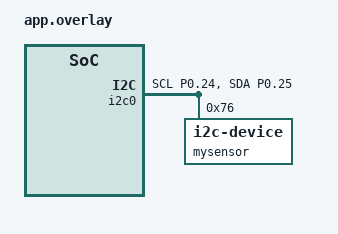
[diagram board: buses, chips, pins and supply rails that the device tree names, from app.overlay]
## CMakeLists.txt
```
cmake_minimum_required(VERSION 3.20.0)
find_package(Zephyr REQUIRED HINTS $ENV{ZEPHYR_BASE})

project(i2c_temp_read)

target_sources(app PRIVATE src/main.c)
```

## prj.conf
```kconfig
CONFIG_SERIAL=y
CONFIG_CONSOLE=y

CONFIG_LOG=y

CONFIG_I2C=y

CONFIG_CBPRINTF_FP_SUPPORT=y
```

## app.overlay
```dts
&i2c0 {
    status = "okay";

    pinctrl-0 = <&i2c0_default>;
    pinctrl-1 = <&i2c0_sleep>;
    pinctrl-names = "default", "sleep";
    mysensor: mysensor@76{
        compatible = "i2c-device";
        status = "okay";
        reg = < 0x76 >;
    };
};

&pinctrl {
	/omit-if-no-ref/ i2c0_default: i2c0_default {
		group1  {
			psels = <NRF_PSEL(TWIM_SCL, 0, 24)>,
					<NRF_PSEL(TWIM_SDA, 0, 25)>;
		};
	};

	/omit-if-no-ref/ i2c0_sleep: i2c0_sleep {
		group1  {
			psels = <NRF_PSEL(TWIM_SCL, 0, 24)>,
					<NRF_PSEL(TWIM_SDA, 0, 25)>;
			low-power-enable;
		};
	};
};
```

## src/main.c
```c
#include <zephyr/kernel.h>
#include <zephyr/drivers/i2c.h>
#include <zephyr/logging/log.h>
#include <stdbool.h>

#define I2C0_NODE DT_NODELABEL(mysensor)

#define BME680_CHIP_ID_REG 0xD0
#define BME680_CHIP_ID     0x61

LOG_MODULE_REGISTER(i2c_temp_read);  

static const struct i2c_dt_spec dev_i2c = I2C_DT_SPEC_GET(I2C0_NODE);

#define CHECK_ERROR_READ(reg_addr, ret) \
        do { \
                if(ret != 0) \
                { \
                        LOG_ERR("Failed to read from I2C device address %x at reg. %x \n\r", \
                                dev_i2c.addr, reg_addr); \
                        return ret; \
                } \
        } while(0)
        
#define CHECK_ERROR_WRITE(reg_addr, ret) \
        do { \
                if(ret != 0) \
                { \
                        LOG_ERR("Failed to write from I2C device address %x to reg. %x \n\r", \
                                dev_i2c.addr, reg_addr); \
                        return ret; \
                } \
        } while(0)

static inline void set_byte(uint32_t* target, uint8_t byte, int8_t offset)
{
        uint32_t temp; 

        if(offset < 0) {
                temp = byte >> -offset; 
        } else {
                temp = byte << offset; 
        }

        *target |= temp; 
}
static int enable_temp_only(uint8_t oversampling)
{
        if (oversampling > 0b111) {
                oversampling = 1; 
        }

        uint8_t config[2] = {0x74, (oversampling << 5 | 1)}; 
        int ret = 0; 

        // 0x74 = ctrl_meas
        // Bits 7:5 = osrs_t (temp oversampling)
        // Bits 4:2 = osrs_p
        // Bits 1:0 = mode

        ret = i2c_write_dt(&dev_i2c, config, sizeof(config));
        CHECK_ERROR_WRITE(config[0], ret);

        return 0;  
}

static int get_temp_params(uint16_t* par_t1, uint16_t* par_t2, uint8_t* par_t3)
{
        int ret;
        uint8_t reg_addr; 
        uint8_t data_pool[2] = {0};
        *par_t1 = 0; *par_t2 = 0; *par_t3 = 0;
        
        reg_addr = 0xE9; 
        ret = i2c_burst_read_dt(&dev_i2c, reg_addr, data_pool, sizeof(data_pool));
        CHECK_ERROR_READ(reg_addr, ret); 

        *par_t1 = ( (uint16_t)data_pool[1] << 8 ) | (uint16_t)data_pool[0]; 

        reg_addr = 0x8A; 
        ret = i2c_burst_read_dt(&dev_i2c, reg_addr, data_pool, sizeof(data_pool));
        CHECK_ERROR_READ(reg_addr, ret);

        *par_t2 = ( (uint16_t)data_pool[1] << 8 ) | (uint16_t)data_pool[0]; 

        reg_addr = 0x8C;
        ret = i2c_reg_read_byte_dt(&dev_i2c, reg_addr, par_t3);
        CHECK_ERROR_READ(reg_addr, ret); 

        return 0;
}

static int check_for_new_data() 
{
        uint8_t reg_addr = 0x1D;
        uint8_t meas_status_0 = 0; 
        int ret = 0;

        do {
                ret = i2c_reg_read_byte_dt(&dev_i2c, reg_addr, &meas_status_0);
                CHECK_ERROR_READ(reg_addr, ret);

        } while (!(meas_status_0 & (1 << 7))); 

        return 0;
}

static int get_raw_adc(uint32_t* adc)
{
        // reg[0] = temp_msb[7:0]
        // reg[1] = temp_lsb[7:0]
        // reg[2] = temp_xlsb[7:4]

        uint8_t bytes[3] = {0};
        uint8_t regs[3] = {0x22, 0x23, 0x24}; 
        int ret;

        *adc = 0; 

        for (int i = 0; i < 3; i++) {
                uint8_t reg = regs[i];
                ret = i2c_reg_read_byte_dt(&dev_i2c, reg, &bytes[i]);
                CHECK_ERROR_READ(reg, ret);

                if (reg == 0x24) {
                        bytes[i] &= 0xF0; 
                }
        }

        set_byte(adc, bytes[0], 12); 
        set_byte(adc, bytes[1], 4);
        set_byte(adc, bytes[2], -4);

        return 0;
}

static inline int32_t raw_adc_to_celcius(uint32_t temp_adc, int16_t par_t1,
                                        int16_t par_t2, int8_t par_t3)
{
        int32_t var1 = ((int32_t)temp_adc >> 3) - ((int32_t)par_t1 << 1);
        int32_t var2 = (var1 * (int32_t)par_t2) >> 11;
        int32_t var3 = ((((var1 >> 1) * (var1 >> 1)) >> 12) * ((int32_t)par_t3 << 4)) >> 14;
        int32_t t_fine = var2 + var3;
        int32_t temp_comp = ((t_fine * 5) + 128) >> 8;

        return temp_comp;
}

static int check_chip_id(void)
{
        uint8_t chip_id;
        int ret;

        ret = i2c_reg_read_byte_dt(&dev_i2c, BME680_CHIP_ID_REG, &chip_id);
        CHECK_ERROR_READ(BME680_CHIP_ID_REG, ret);

        LOG_INF("Chip id: 0x%02x\n\r", chip_id);

        if (chip_id != BME680_CHIP_ID) {
                LOG_ERR("Unexpected chip id: 0x%02x (expected 0x%02x)\n\r",
                        chip_id, BME680_CHIP_ID);
                return -1;
        }

        return 0;
}

int main(void)
{
        uint16_t par_t1;
        uint16_t par_t2;
        uint8_t par_t3;
        uint32_t adc;
        uint8_t oversamp = 0b11; // 4x
        int32_t temp_read;
        int ret;

        /* waits for sensor to power on */
        k_msleep(10);


        if (!device_is_ready(dev_i2c.bus)) {
                LOG_ERR("I2C bus %s is not ready!\n\r",dev_i2c.bus->name);
                return 0;
        }

        ret = check_chip_id();
        if (ret != 0) {
                LOG_ERR("Chip id check failed: %d\n\r", ret);
                return 0;
        }

        LOG_INF("Começando medições...\n\r");
        while(1) {
                ret = enable_temp_only(oversamp);
                if (ret != 0) {
                        LOG_ERR("Could not enable temparature readings: %d\n\r", ret);
                        return 0;
                }

                ret = get_temp_params(&par_t1, &par_t2, &par_t3);
                if (ret != 0) {
                        LOG_ERR("Could not get temperature parameters: %d\n\r", ret);
                        return 0;
                }

                ret = check_for_new_data();
                if (ret != 0) {
                        LOG_ERR("New data check failed: %d\n\r", ret);
                        return 0;
                }

                LOG_INF("New data acquired\n\r");

                ret = get_raw_adc(&adc);
                if (ret != 0) {
                        LOG_ERR("Could not get raw adc data: %d\n\r", ret);
                        return 0;
                }

                temp_read = raw_adc_to_celcius(adc, par_t1,
                                                par_t2, par_t3);

                LOG_INF("Temperature: %0.2f C\n\r", temp_read / 100.0);

                k_msleep(1000);
        }

        return 0;
}
```
